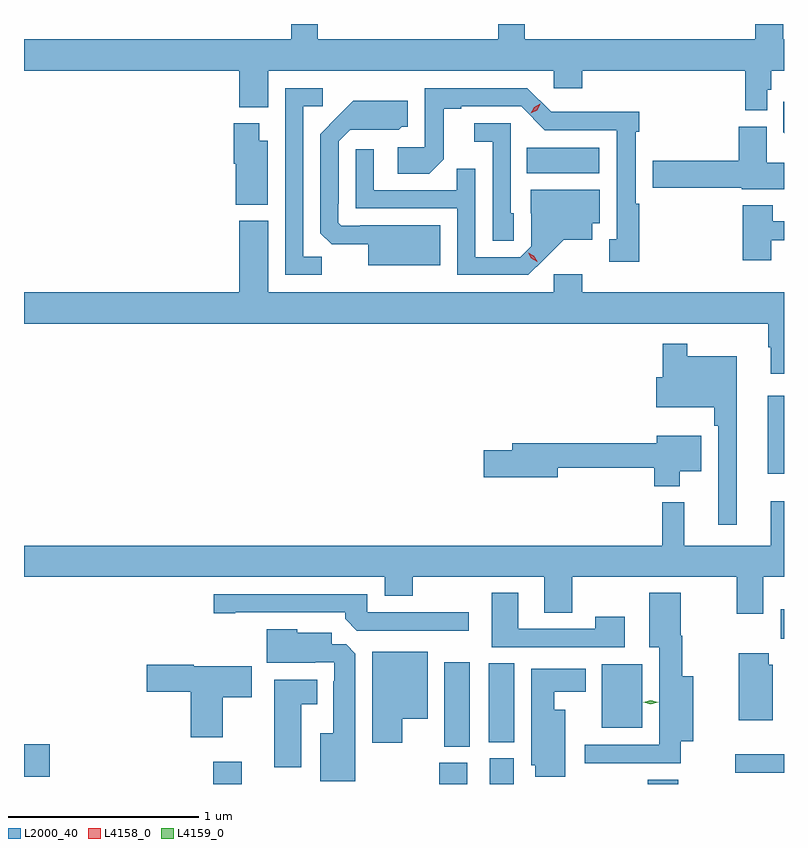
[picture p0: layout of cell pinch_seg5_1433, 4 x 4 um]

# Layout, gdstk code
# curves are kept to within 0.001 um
import gdstk
lib = gdstk.Library(unit=1e-6, precision=1e-09)
def R(c, l, rs):  # rectangles x0, y0, x1, y1
    for r in rs: c.add(gdstk.rectangle(r[:2], r[2:], *l))
def P(c, l, *ps):  # polygons
    for p in ps: c.add(gdstk.Polygon(p, *l))
L2000_40 = (2000, 40)
L4158_0 = (4158, 0)
L4159_0 = (4159, 0)

pinch_seg5_1433 = lib.new_cell('pinch_seg5_1433')
R(pinch_seg5_1433, L2000_40, [(120.398,887.637,120.55,887.755), (121.588,887.637,121.735,887.748), (121.853,887.637,121.981,887.772), (122.686,887.637,122.846,887.659), (119.403,887.675,119.539,887.846), (123.147,887.696,123.403,887.793), (121.616,887.833,121.75,888.277), (121.85,887.857,121.984,888.272), (122.444,887.933,122.656,888.268), (123.386,888.402,123.403,888.556), (123.317,889.271,123.403,889.681), (122.05,890.852,122.431,890.986)])
P(pinch_seg5_1433, L2000_40, [(123.315,891.291),(123.335,891.291),(123.335,891.392),(123.403,891.392),(123.403,891.556),(123.399,891.556),(123.399,891.637),(123.251,891.637),(123.251,891.556),(122.038,891.556),(122.038,891.637),(121.899,891.637),(121.899,891.556),(120.949,891.556),(120.949,891.637),(120.809,891.637),(120.809,891.556),(119.403,891.556),(119.403,891.392),(120.536,891.392),(120.536,891.2),(120.688,891.2),(120.688,891.392),(122.19,891.392),(122.19,891.299),(122.342,891.299),(122.342,891.392),(123.199,891.392),(123.199,891.182),(123.315,891.182)],
  [(122.641,890.69),(122.623,890.69),(122.623,891.071),(122.641,891.071),(122.641,891.176),(122.4,891.176),(122.4,891.174),(122.178,891.174),(122.052,891.3),(121.512,891.3),(121.512,890.988),(121.371,890.988),(121.371,890.848),(121.535,890.848),(121.611,890.924),(121.611,891.192),(121.705,891.192),(121.705,891.204),(122.019,891.204),(122.145,891.078),(122.522,891.078),(122.522,890.505),(122.483,890.505),(122.483,890.385),(122.641,890.385)],
  [(120.969,890.411),(120.873,890.411),(120.873,891.204),(120.976,891.204),(120.976,891.3),(120.777,891.3),(120.777,890.316),(120.969,890.316)],
  [(121.594,890.578),(121.174,890.578),(121.174,890.574),(121.074,890.574),(121.056,890.592),(121.056,890.692),(121.059,890.692),(121.059,891.021),(121.119,891.081),(121.376,891.08),(121.392,891.096),(121.423,891.096),(121.423,891.232),(121.135,891.232),(120.963,891.058),(120.963,890.536),(121.022,890.477),(121.214,890.477),(121.214,890.366),(121.594,890.366)],
  [(123.403,891.229),(123.4,891.229),(123.4,891.066),(123.403,891.063)],
  [(120.685,891.022),(120.64,891.022),(120.64,891.115),(120.506,891.115),(120.506,890.901),(120.518,890.901),(120.518,890.687),(120.685,890.687)],
  [(121.98,890.64),(121.965,890.64),(121.965,891.114),(121.773,891.114),(121.773,891.017),(121.869,891.017),(121.869,890.497),(121.98,890.497)],
  [(123.403,890.906),(123.313,890.906),(123.313,891.097),(123.164,891.097),(123.164,890.916),(122.712,890.916),(122.712,890.774),(123.18,890.774),(123.18,890.768),(123.403,890.768)],
  [(122.14,890.399),(122.243,890.501),(122.395,890.501),(122.395,890.588),(122.434,890.588),(122.434,890.764),(122.069,890.764),(122.069,890.64),(122.073,890.64),(122.073,890.466),(122.016,890.409),(121.779,890.409),(121.779,890.876),(121.681,890.876),(121.681,890.763),(121.245,890.763),(121.245,890.977),(121.149,890.977),(121.149,890.667),(121.683,890.667),(121.683,890.316),(122.056,890.316)],
  [(123.337,890.499),(123.403,890.499),(123.403,890.599),(123.345,890.599),(123.345,890.683),(123.185,890.683),(123.185,890.394),(123.337,890.394)],
  [(123.403,890.224),(122.342,890.224),(122.342,890.32),(122.19,890.32),(122.19,890.224),(120.688,890.224),(120.688,890.602),(120.536,890.602),(120.536,890.224),(119.403,890.224),(119.403,890.06),(123.321,890.06),(123.321,889.937),(123.332,889.937),(123.332,889.797),(123.403,889.797)],
  [(123.154,889.888),(122.893,889.888),(122.893,889.954),(122.764,889.954),(122.764,889.777),(122.73,889.777),(122.73,889.619),(123.037,889.619),(123.037,889.523),(123.057,889.523),(123.057,889.002),(123.154,889.002)],
  [(122.854,889.283),(122.968,889.283),(122.968,889.471),(122.732,889.471),(122.732,889.43),(121.973,889.43),(121.973,889.394),(121.824,889.394),(121.824,889.252),(122.212,889.252),(122.212,889.302),(122.72,889.302),(122.72,889.205),(122.854,889.205)],
  [(123.295,888.728),(123.403,888.728),(123.403,889.126),(123.332,889.126),(123.332,888.892),(122.879,888.892),(122.879,889.12),(122.761,889.12),(122.761,888.892),(119.403,888.892),(119.403,888.728),(121.301,888.728),(121.301,888.629),(121.449,888.629),(121.449,888.728),(122.141,888.728),(122.141,888.538),(122.289,888.538),(122.289,888.728),(123.155,888.728),(123.155,888.534),(123.295,888.534)],
  [(122.86,887.861),(122.926,887.861),(122.926,888.205),(122.868,888.205),(122.868,888.416),(122.86,888.416),(122.86,888.643),(122.693,888.643),(122.693,888.356),(122.747,888.356),(122.747,887.844),(122.355,887.844),(122.355,887.747),(122.86,887.747)],
  [(122.566,888.517),(122.41,888.517),(122.41,888.453),(122.005,888.453),(122.005,888.643),(121.865,888.643),(121.865,888.357),(122.566,888.357)],
  [(121.744,888.54),(121.209,888.54),(121.209,888.636),(120.402,888.636),(120.402,888.535),(120.514,888.535),(120.514,888.54),(121.094,888.54),(121.094,888.506),(121.155,888.444),(121.744,888.444)],
  [(121.147,888.323),(121.098,888.372),(121.024,888.372),(121.024,888.433),(120.84,888.433),(120.84,888.451),(120.68,888.451),(120.68,888.275),(120.935,888.275),(120.935,888.279),(121.035,888.279),(121.035,888.179),(121.031,888.179),(121.031,887.905),(120.962,887.905),(120.962,887.651),(121.147,887.651)],
  [(121.393,887.981),(121.528,887.981),(121.528,888.334),(121.235,888.334),(121.235,887.853),(121.393,887.853)],
  [(123.343,888.264),(123.322,888.264),(123.322,888.325),(123.164,888.325),(123.164,887.972),(123.343,887.972)],
  [(120.448,888.094),(120.601,888.094),(120.601,888.256),(120.297,888.256),(120.297,888.264),(120.048,888.264),(120.048,888.122),(120.281,888.122),(120.281,887.883),(120.448,887.883)],
  [(122.251,888.028),(122.194,888.028),(122.194,888.122),(122.359,888.122),(122.359,888.244),(122.072,888.244),(122.072,887.736),(122.093,887.736),(122.093,887.676),(122.251,887.676)],
  [(120.862,888.056),(120.946,888.056),(120.946,888.187),(120.719,888.187),(120.719,887.724),(120.862,887.724)])
P(pinch_seg5_1433, L4158_0, [(122.071,891.166),(122.071,891.166),(122.089,891.198),(122.121,891.217),(122.121,891.217),(122.121,891.216),(122.103,891.184),(122.071,891.166)],
  [(122.104,890.387),(122.073,890.403),(122.057,890.433),(122.057,890.433),(122.057,890.433),(122.087,890.417),(122.104,890.388),(122.104,890.387)])
P(pinch_seg5_1433, L4159_0, [(122.701,888.058),(122.661,888.068),(122.661,888.068),(122.661,888.068),(122.701,888.078),(122.742,888.068),(122.742,888.068),(122.742,888.068)])

lib.write_gds('pinch_seg5_1433.gds')
